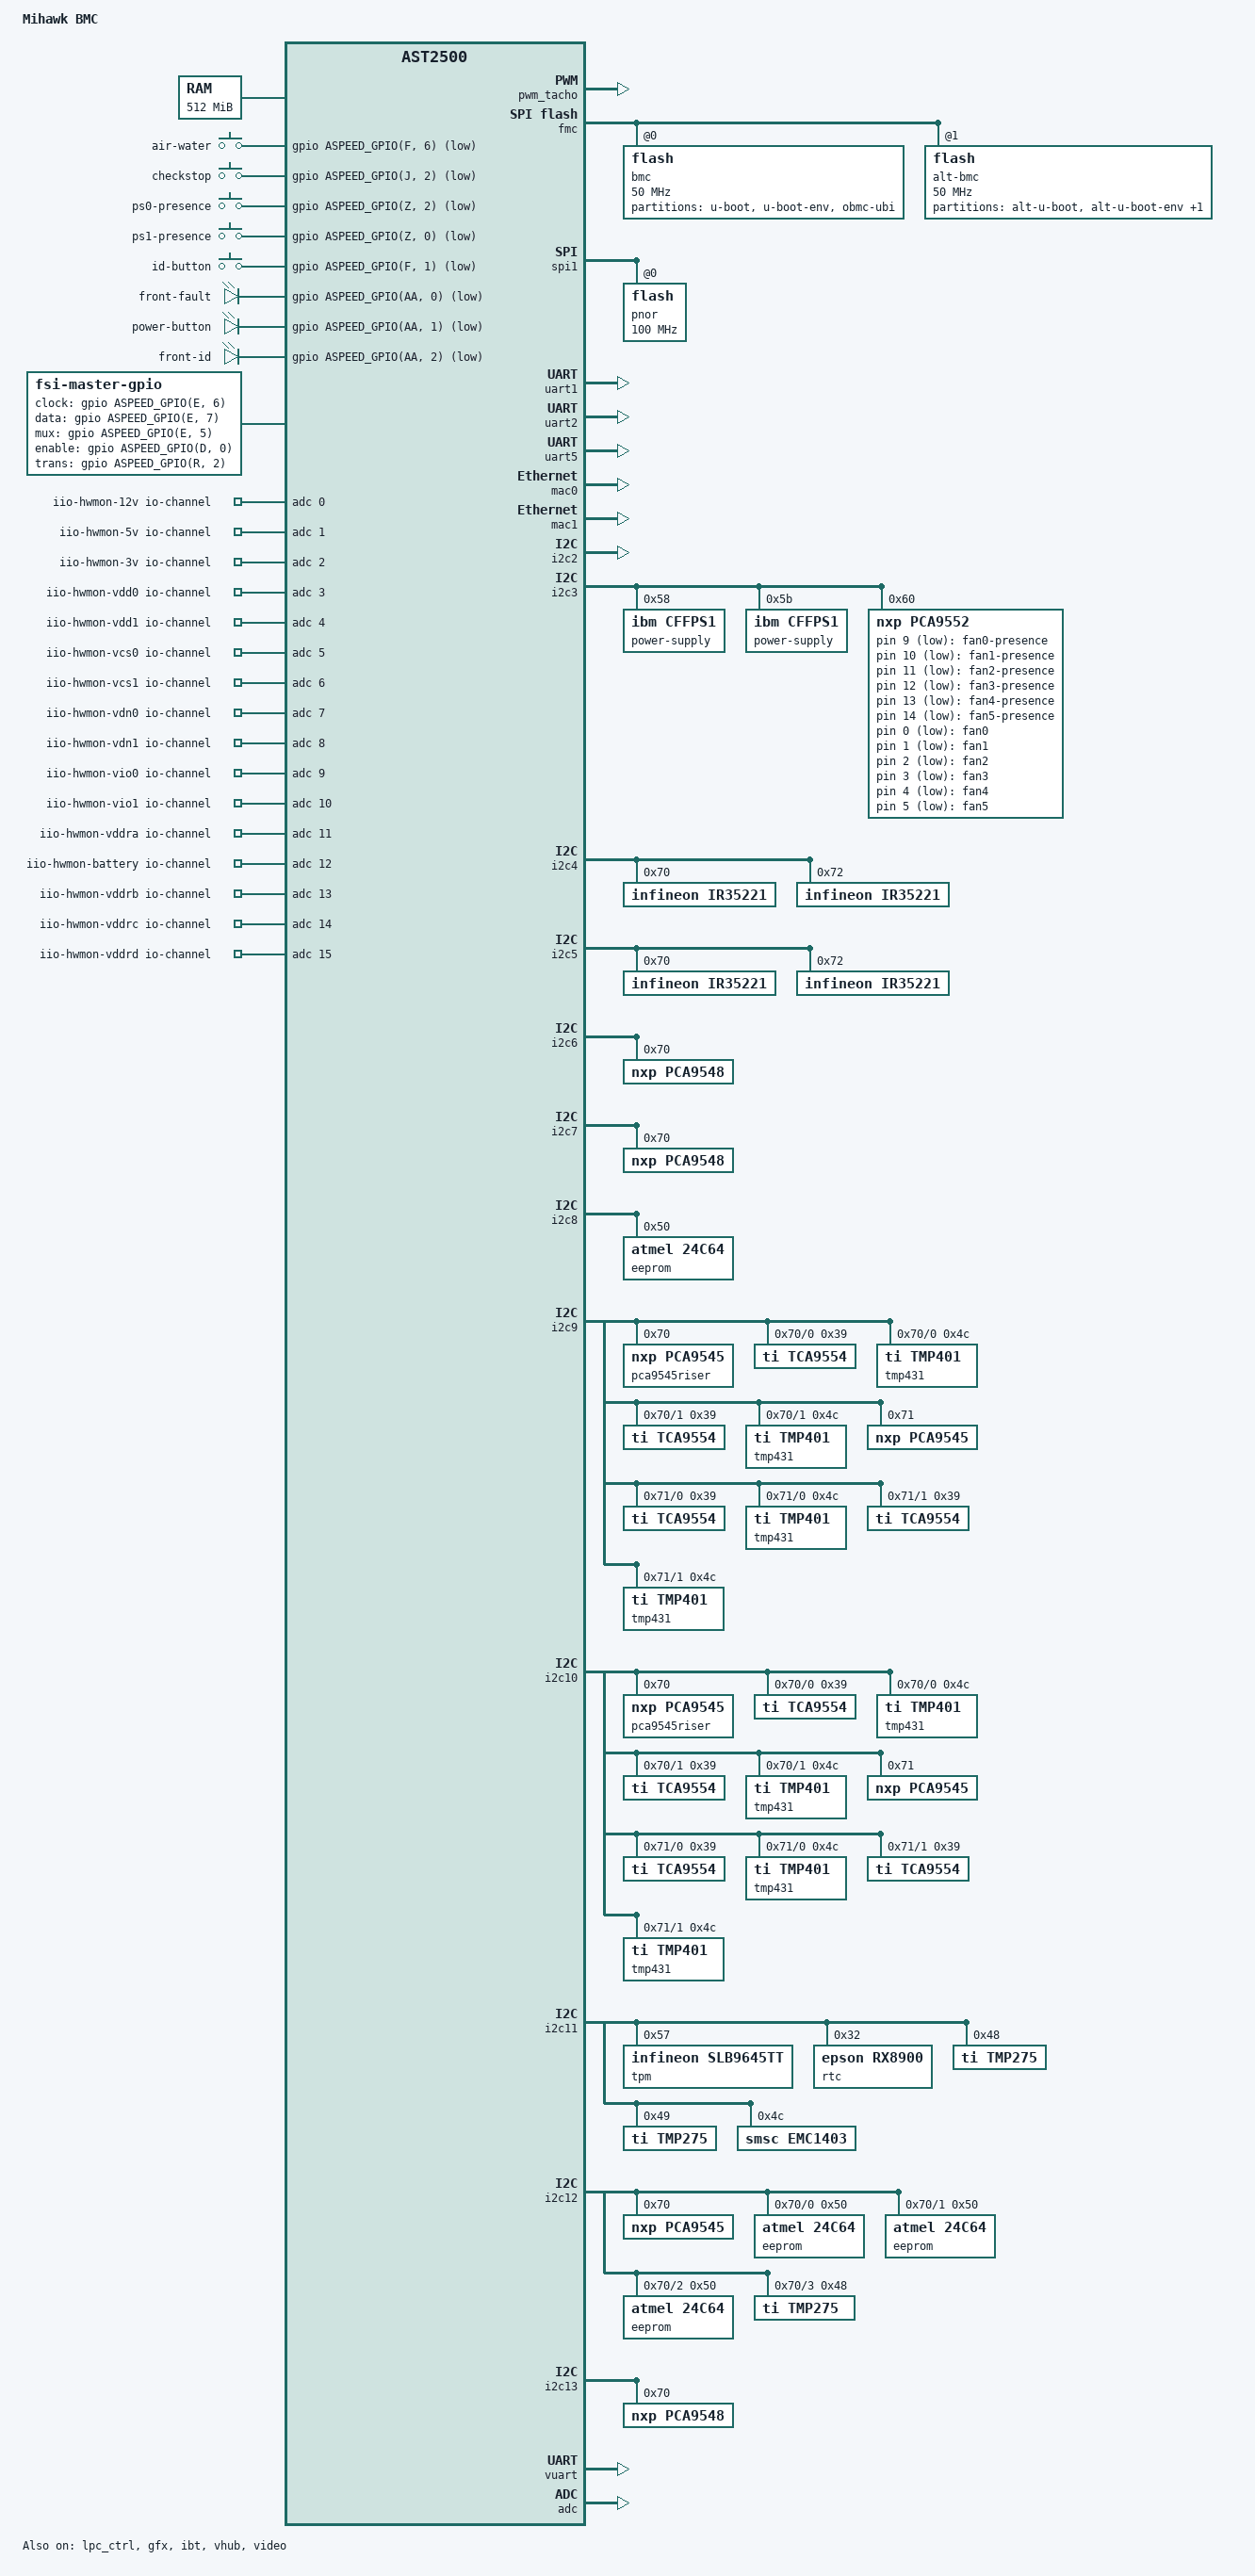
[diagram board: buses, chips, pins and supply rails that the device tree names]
// SPDX-License-Identifier: GPL-2.0+
/dts-v1/;
#include "aspeed-g5.dtsi"
#include <dt-bindings/gpio/aspeed-gpio.h>
#include <dt-bindings/leds/leds-pca955x.h>

/ {
	model = "Mihawk BMC";
	compatible = "ibm,mihawk-bmc", "aspeed,ast2500";

	aliases {
		i2c215 = &bus6_mux215;
		i2c216 = &bus6_mux216;
		i2c217 = &bus6_mux217;
		i2c218 = &bus6_mux218;
		i2c219 = &bus6_mux219;
		i2c220 = &bus6_mux220;
		i2c221 = &bus6_mux221;
		i2c222 = &bus6_mux222;
		i2c223 = &bus7_mux223;
		i2c224 = &bus7_mux224;
		i2c225 = &bus7_mux225;
		i2c226 = &bus7_mux226;
		i2c227 = &bus7_mux227;
		i2c228 = &bus7_mux228;
		i2c229 = &bus7_mux229;
		i2c230 = &bus7_mux230;
		i2c231 = &bus9_mux231;
		i2c232 = &bus9_mux232;
		i2c233 = &bus9_mux233;
		i2c234 = &bus9_mux234;
		i2c235 = &bus9_mux235;
		i2c236 = &bus9_mux236;
		i2c237 = &bus9_mux237;
		i2c238 = &bus9_mux238;
		i2c239 = &bus10_mux239;
		i2c240 = &bus10_mux240;
		i2c241 = &bus10_mux241;
		i2c242 = &bus10_mux242;
		i2c243 = &bus10_mux243;
		i2c244 = &bus10_mux244;
		i2c245 = &bus10_mux245;
		i2c246 = &bus10_mux246;
		i2c247 = &bus12_mux247;
		i2c248 = &bus12_mux248;
		i2c249 = &bus12_mux249;
		i2c250 = &bus12_mux250;
		i2c251 = &bus13_mux251;
		i2c252 = &bus13_mux252;
		i2c253 = &bus13_mux253;
		i2c254 = &bus13_mux254;
		i2c255 = &bus13_mux255;
		i2c256 = &bus13_mux256;
		i2c257 = &bus13_mux257;
		i2c258 = &bus13_mux258;
	};

	chosen {
		stdout-path = &uart5;
		bootargs = "console=ttyS4,115200 earlyprintk";
	};

	memory@80000000 {
		reg = <0x80000000 0x20000000>;
	};

	reserved-memory {
		#address-cells = <1>;
		#size-cells = <1>;
		ranges;

		flash_memory: region@98000000 {
			no-map;
			reg = <0x98000000 0x04000000>; /* 64M */
		};

		gfx_memory: framebuffer {
			size = <0x01000000>;
			alignment = <0x01000000>;
			compatible = "shared-dma-pool";
			reusable;
		};

		video_engine_memory: jpegbuffer {
			size = <0x02000000>;
			alignment = <0x01000000>;
			compatible = "shared-dma-pool";
			reusable;
		};
	};

	gpio-keys {
		compatible = "gpio-keys";

		air-water {
			label = "air-water";
			gpios = <&gpio ASPEED_GPIO(F, 6) GPIO_ACTIVE_LOW>;
			linux,code = <ASPEED_GPIO(F, 6)>;
		};

		checkstop {
			label = "checkstop";
			gpios = <&gpio ASPEED_GPIO(J, 2) GPIO_ACTIVE_LOW>;
			linux,code = <ASPEED_GPIO(J, 2)>;
		};

		ps0-presence {
			label = "ps0-presence";
			gpios = <&gpio ASPEED_GPIO(Z, 2) GPIO_ACTIVE_LOW>;
			linux,code = <ASPEED_GPIO(Z, 2)>;
		};

		ps1-presence {
			label = "ps1-presence";
			gpios = <&gpio ASPEED_GPIO(Z, 0) GPIO_ACTIVE_LOW>;
			linux,code = <ASPEED_GPIO(Z, 0)>;
		};
		id-button {
			label = "id-button";
			gpios = <&gpio ASPEED_GPIO(F, 1) GPIO_ACTIVE_LOW>;
			linux,code = <ASPEED_GPIO(F, 1)>;
		};
	};

	gpio-keys-polled {
		compatible = "gpio-keys-polled";
		poll-interval = <1000>;

		fan0-presence {
			label = "fan0-presence";
			gpios = <&pca9552 9 GPIO_ACTIVE_LOW>;
			linux,code = <9>;
		};

		fan1-presence {
			label = "fan1-presence";
			gpios = <&pca9552 10 GPIO_ACTIVE_LOW>;
			linux,code = <10>;
		};

		fan2-presence {
			label = "fan2-presence";
			gpios = <&pca9552 11 GPIO_ACTIVE_LOW>;
			linux,code = <11>;
		};

		fan3-presence {
			label = "fan3-presence";
			gpios = <&pca9552 12 GPIO_ACTIVE_LOW>;
			linux,code = <12>;
		};

		fan4-presence {
			label = "fan4-presence";
			gpios = <&pca9552 13 GPIO_ACTIVE_LOW>;
			linux,code = <13>;
		};

		fan5-presence {
			label = "fan5-presence";
			gpios = <&pca9552 14 GPIO_ACTIVE_LOW>;
			linux,code = <14>;
		};
	};

	leds {
		compatible = "gpio-leds";

		front-fault {
			retain-state-shutdown;
			default-state = "keep";
			gpios = <&gpio ASPEED_GPIO(AA, 0) GPIO_ACTIVE_LOW>;
		};

		power-button {
			retain-state-shutdown;
			default-state = "keep";
			gpios = <&gpio ASPEED_GPIO(AA, 1) GPIO_ACTIVE_LOW>;
		};

		front-id {
			retain-state-shutdown;
			default-state = "keep";
			gpios = <&gpio ASPEED_GPIO(AA, 2) GPIO_ACTIVE_LOW>;
		};


		fan0 {
			retain-state-shutdown;
			default-state = "keep";
			gpios = <&pca9552 0 GPIO_ACTIVE_LOW>;
		};

		fan1 {
			retain-state-shutdown;
			default-state = "keep";
			gpios = <&pca9552 1 GPIO_ACTIVE_LOW>;
		};

		fan2 {
			retain-state-shutdown;
			default-state = "keep";
			gpios = <&pca9552 2 GPIO_ACTIVE_LOW>;
		};

		fan3 {
			retain-state-shutdown;
			default-state = "keep";
			gpios = <&pca9552 3 GPIO_ACTIVE_LOW>;
		};

		fan4 {
			retain-state-shutdown;
			default-state = "keep";
			gpios = <&pca9552 4 GPIO_ACTIVE_LOW>;
		};

		fan5 {
			retain-state-shutdown;
			default-state = "keep";
			gpios = <&pca9552 5 GPIO_ACTIVE_LOW>;
		};
	};

	fsi: gpio-fsi {
		compatible = "fsi-master-gpio", "fsi-master";
		#address-cells = <2>;
		#size-cells = <0>;
		no-gpio-delays;

		clock-gpios = <&gpio ASPEED_GPIO(E, 6) GPIO_ACTIVE_HIGH>;
		data-gpios = <&gpio ASPEED_GPIO(E, 7) GPIO_ACTIVE_HIGH>;
		mux-gpios = <&gpio ASPEED_GPIO(E, 5) GPIO_ACTIVE_HIGH>;
		enable-gpios = <&gpio ASPEED_GPIO(D, 0) GPIO_ACTIVE_HIGH>;
		trans-gpios = <&gpio ASPEED_GPIO(R, 2) GPIO_ACTIVE_HIGH>;
	};
	iio-hwmon-12v {
		compatible = "iio-hwmon";
		io-channels = <&adc 0>;
	};

	iio-hwmon-5v {
		compatible = "iio-hwmon";
		io-channels = <&adc 1>;
	};

	iio-hwmon-3v {
		compatible = "iio-hwmon";
		io-channels = <&adc 2>;
	};

	iio-hwmon-vdd0 {
		compatible = "iio-hwmon";
		io-channels = <&adc 3>;
	};

	iio-hwmon-vdd1 {
		compatible = "iio-hwmon";
		io-channels = <&adc 4>;
	};

	iio-hwmon-vcs0 {
		compatible = "iio-hwmon";
		io-channels = <&adc 5>;
	};

	iio-hwmon-vcs1 {
		compatible = "iio-hwmon";
		io-channels = <&adc 6>;
	};

	iio-hwmon-vdn0 {
		compatible = "iio-hwmon";
		io-channels = <&adc 7>;
	};

	iio-hwmon-vdn1 {
		compatible = "iio-hwmon";
		io-channels = <&adc 8>;
	};

	iio-hwmon-vio0 {
		compatible = "iio-hwmon";
		io-channels = <&adc 9>;
	};

	iio-hwmon-vio1 {
		compatible = "iio-hwmon";
		io-channels = <&adc 10>;
	};

	iio-hwmon-vddra {
		compatible = "iio-hwmon";
		io-channels = <&adc 11>;
	};

	iio-hwmon-battery {
		compatible = "iio-hwmon";
		io-channels = <&adc 12>;
	};

	iio-hwmon-vddrb {
		compatible = "iio-hwmon";
		io-channels = <&adc 13>;
	};

	iio-hwmon-vddrc {
		compatible = "iio-hwmon";
		io-channels = <&adc 14>;
	};

	iio-hwmon-vddrd {
		compatible = "iio-hwmon";
		io-channels = <&adc 15>;
	};
};

&pwm_tacho {
	status = "okay";
	pinctrl-names = "default";
	pinctrl-0 = <&pinctrl_pwm0_default &pinctrl_pwm1_default
		&pinctrl_pwm2_default &pinctrl_pwm3_default
		&pinctrl_pwm4_default &pinctrl_pwm5_default>;

	fan@0 {
		reg = <0x00>;
		aspeed,fan-tach-ch = /bits/ 8 <0x00>;
	};

	fan@1 {
		reg = <0x01>;
		aspeed,fan-tach-ch = /bits/ 8 <0x01>;
	};

	fan@2 {
		reg = <0x02>;
		aspeed,fan-tach-ch = /bits/ 8 <0x02>;
	};

	fan@3 {
		reg = <0x03>;
		aspeed,fan-tach-ch = /bits/ 8 <0x03>;
	};

	fan@4 {
		reg = <0x04>;
		aspeed,fan-tach-ch = /bits/ 8 <0x04>;
	};

	fan@5 {
		reg = <0x05>;
		aspeed,fan-tach-ch = /bits/ 8 <0x05>;
	};

	fan@6 {
		reg = <0x00>;
		aspeed,fan-tach-ch = /bits/ 8 <0x06>;
	};

	fan@7 {
		reg = <0x01>;
		aspeed,fan-tach-ch = /bits/ 8 <0x07>;
	};

	fan@8 {
		reg = <0x02>;
		aspeed,fan-tach-ch = /bits/ 8 <0x08>;
	};

	fan@9 {
		reg = <0x03>;
		aspeed,fan-tach-ch = /bits/ 8 <0x09>;
	};

	fan@10 {
		reg = <0x04>;
		aspeed,fan-tach-ch = /bits/ 8 <0x0a>;
	};

	fan@11 {
		reg = <0x05>;
		aspeed,fan-tach-ch = /bits/ 8 <0x0b>;
	};
};

&fmc {
	status = "okay";
	flash@0 {
		status = "okay";
		label = "bmc";
		m25p,fast-read;
		spi-max-frequency = <50000000>;
		partitions {
			#address-cells = < 1 >;
			#size-cells = < 1 >;
			compatible = "fixed-partitions";
			u-boot@0 {
				reg = < 0 0x60000 >;
				label = "u-boot";
			};
			u-boot-env@60000 {
				reg = < 0x60000 0x20000 >;
				label = "u-boot-env";
			};
			obmc-ubi@80000 {
				reg = < 0x80000 0x1F80000 >;
				label = "obmc-ubi";
			};
		};
	};
	flash@1 {
		status = "okay";
		label = "alt-bmc";
		m25p,fast-read;
		spi-max-frequency = <50000000>;
		partitions {
			#address-cells = < 1 >;
			#size-cells = < 1 >;
			compatible = "fixed-partitions";
			u-boot@0 {
				reg = < 0 0x60000 >;
				label = "alt-u-boot";
			};
			u-boot-env@60000 {
				reg = < 0x60000 0x20000 >;
				label = "alt-u-boot-env";
			};
			obmc-ubi@80000 {
				reg = < 0x80000 0x1F80000 >;
				label = "alt-obmc-ubi";
			};
		};
	};
};

&spi1 {
	status = "okay";
	pinctrl-names = "default";
	pinctrl-0 = <&pinctrl_spi1_default>;

	flash@0 {
		status = "okay";
		label = "pnor";
		m25p,fast-read;
		spi-max-frequency = <100000000>;
	};
};

&lpc_ctrl {
	status = "okay";
	memory-region = <&flash_memory>;
	flash = <&spi1>;
};

&uart1 {
	/* Rear RS-232 connector */
	status = "okay";

	pinctrl-names = "default";
	pinctrl-0 = <&pinctrl_txd1_default
			&pinctrl_rxd1_default
			&pinctrl_nrts1_default
			&pinctrl_ndtr1_default
			&pinctrl_ndsr1_default
			&pinctrl_ncts1_default
			&pinctrl_ndcd1_default
			&pinctrl_nri1_default>;
};

&uart2 {
	/* APSS */
	status = "okay";

	pinctrl-names = "default";
	pinctrl-0 = <&pinctrl_txd2_default &pinctrl_rxd2_default>;
};

&uart5 {
	status = "okay";
};

&mac0 {
	status = "okay";

	pinctrl-names = "default";
	pinctrl-0 = <&pinctrl_rmii1_default>;
	clocks = <&syscon ASPEED_CLK_GATE_MAC1CLK>,
		 <&syscon ASPEED_CLK_MAC1RCLK>;
	clock-names = "MACCLK", "RCLK";
	use-ncsi;
};

&mac1 {
	status = "okay";

	pinctrl-names = "default";
	pinctrl-0 = <&pinctrl_rgmii2_default &pinctrl_mdio2_default>;
};

&i2c0 {
	status = "disabled";
};

&i2c1 {
	status = "disabled";
};

&i2c2 {
	status = "okay";

	/* SAMTEC P0 */
	/* SAMTEC P1 */

};

&i2c3 {
	status = "okay";

	/* APSS */
	/* CPLD */

	/* PCA9516 (repeater) ->
	 *    CLK Buffer 9FGS9092
	 *    CLK Buffer 9DBL0651BKILFT
	 *    CLK Buffer 9DBL0651BKILFT
	 *    Power Supply 0
	 *    Power Supply 1
	 *    PCA 9552 LED
	 */

	power-supply@58 {
		compatible = "ibm,cffps1";
		reg = <0x58>;
	};

	power-supply@5b {
		compatible = "ibm,cffps1";
		reg = <0x5b>;
	};

	pca9552: pca9552@60 {
		compatible = "nxp,pca9552";
		reg = <0x60>;
		#address-cells = <1>;
		#size-cells = <0>;
		gpio-controller;
		#gpio-cells = <2>;

		gpio@0 {
			reg = <0>;
			type = <PCA955X_TYPE_GPIO>;
		};
		gpio@1 {
			reg = <1>;
			type = <PCA955X_TYPE_GPIO>;
		};
		gpio@2 {
			reg = <2>;
			type = <PCA955X_TYPE_GPIO>;
		};
		gpio@3 {
			reg = <3>;
			type = <PCA955X_TYPE_GPIO>;
		};
		gpio@4 {
			reg = <4>;
			type = <PCA955X_TYPE_GPIO>;
		};
		gpio@5 {
			reg = <5>;
			type = <PCA955X_TYPE_GPIO>;
		};
		gpio@6 {
			reg = <6>;
			type = <PCA955X_TYPE_GPIO>;
		};
		gpio@7 {
			reg = <7>;
			type = <PCA955X_TYPE_GPIO>;
		};
		gpio@8 {
			reg = <8>;
			type = <PCA955X_TYPE_GPIO>;
		};
		gpio@9 {
			reg = <9>;
			type = <PCA955X_TYPE_GPIO>;
		};
		gpio@10 {
			reg = <10>;
			type = <PCA955X_TYPE_GPIO>;
		};
		gpio@11 {
			reg = <11>;
			type = <PCA955X_TYPE_GPIO>;
		};
		gpio@12 {
			reg = <12>;
			type = <PCA955X_TYPE_GPIO>;
		};
		gpio@13 {
			reg = <13>;
			type = <PCA955X_TYPE_GPIO>;
		};
		gpio@14 {
			reg = <14>;
			type = <PCA955X_TYPE_GPIO>;
		};
		gpio@15 {
			reg = <15>;
			type = <PCA955X_TYPE_GPIO>;
		};

	};

};

&i2c4 {
	status = "okay";

	/* CP0 VDD & VCS : IR35221 */
	/* CP0 VDN : IR35221 */
	/* CP0 VIO : IR38064 */
	/* CP0 VDDR : PXM1330 */

	ir35221@70 {
		compatible = "infineon,ir35221";
		reg = <0x70>;
	};

	ir35221@72 {
		compatible = "infineon,ir35221";
		reg = <0x72>;
	};

};

&i2c5 {
	status = "okay";

	/* CP0 VDD & VCS : IR35221 */
	/* CP0 VDN : IR35221 */
	/* CP0 VIO : IR38064 */
	/* CP0 VDDR : PXM1330 */

	ir35221@70 {
		compatible = "infineon,ir35221";
		reg = <0x70>;
	};

	ir35221@72 {
		compatible = "infineon,ir35221";
		reg = <0x72>;
	};

};

&i2c6 {
	status = "okay";

	/* pca9548 -> NVMe1 to 8 */

	pca9548@70 {
		compatible = "nxp,pca9548";
		#address-cells = <1>;
		#size-cells = <0>;
		reg = <0x70>;

		bus7_mux223: i2c@0 {
			#address-cells = <1>;
			#size-cells = <0>;
			reg = <0>;
		};

		bus7_mux224: i2c@1 {
			#address-cells = <1>;
			#size-cells = <0>;
			reg = <1>;
		};

		bus7_mux225: i2c@2 {
			#address-cells = <1>;
			#size-cells = <0>;
			reg = <2>;
		};

		bus7_mux226: i2c@3 {
			#address-cells = <1>;
			#size-cells = <0>;
			reg = <3>;
		};

		bus7_mux227: i2c@4 {
			#address-cells = <1>;
			#size-cells = <0>;
			reg = <4>;
		};

		bus7_mux228: i2c@5 {
			#address-cells = <1>;
			#size-cells = <0>;
			reg = <5>;
		};

		bus7_mux229: i2c@6 {
			#address-cells = <1>;
			#size-cells = <0>;
			reg = <6>;
		};

		bus7_mux230: i2c@7 {
			#address-cells = <1>;
			#size-cells = <0>;
			reg = <7>;
		};
	};

};

&i2c7 {
	status = "okay";

	/* pca9548 -> NVMe9 to 16 */

	pca9548@70 {
		compatible = "nxp,pca9548";
		#address-cells = <1>;
		#size-cells = <0>;
		reg = <0x70>;

		bus6_mux215: i2c@0 {
			#address-cells = <1>;
			#size-cells = <0>;
			reg = <0>;
		};

		bus6_mux216: i2c@1 {
			#address-cells = <1>;
			#size-cells = <0>;
			reg = <1>;
		};

		bus6_mux217: i2c@2 {
			#address-cells = <1>;
			#size-cells = <0>;
			reg = <2>;
		};

		bus6_mux218: i2c@3 {
			#address-cells = <1>;
			#size-cells = <0>;
			reg = <3>;
		};

		bus6_mux219: i2c@4 {
			#address-cells = <1>;
			#size-cells = <0>;
			reg = <4>;
		};

		bus6_mux220: i2c@5 {
			#address-cells = <1>;
			#size-cells = <0>;
			reg = <5>;
		};

		bus6_mux221: i2c@6 {
			#address-cells = <1>;
			#size-cells = <0>;
			reg = <6>;
		};

		bus6_mux222: i2c@7 {
			#address-cells = <1>;
			#size-cells = <0>;
			reg = <7>;
		};
	};

};

&i2c8 {
	status = "okay";

	eeprom@50 {
		compatible = "atmel,24c64";
		reg = <0x50>;
	};
};

&i2c9 {
	status = "okay";

	/* pca9545 Riser ->
	*	PCIe x8  Slot3
	*	PCIe x16 slot4
	*	PCIe x8  slot5
	*	I2C BMC RISER PCA9554
	*	BMC SCL/SDA PCA9554
	*	PCA9554
	*/

	/* pca9545 ->
	*	PCIe x16 Slot1
	*	PCIe x8  slot2
	*	PEX8748
	*/

	pca9545riser@70 {
		compatible = "nxp,pca9545";
		#address-cells = <1>;
		#size-cells = <0>;
		reg = <0x70>;

		i2c-mux-idle-disconnect;
		interrupt-controller;
		#interrupt-cells = <2>;

		bus9_mux231: i2c@0 {
			#address-cells = <1>;
			#size-cells = <0>;
			reg = <0>;

			tca9554@39 {
				compatible = "ti,tca9554";
				reg = <0x39>;
				gpio-controller;
				#gpio-cells = <2>;

				smbus0-hog {
					gpio-hog;
					gpios = <4 GPIO_ACTIVE_HIGH>;
					output-high;
					line-name = "smbus0";
				};
			};

			tmp431@4c {
				compatible = "ti,tmp401";
				reg = <0x4c>;
			};
		};

		bus9_mux232: i2c@1 {
			#address-cells = <1>;
			#size-cells = <0>;
			reg = <1>;

			tca9554@39 {
				compatible = "ti,tca9554";
				reg = <0x39>;
				gpio-controller;
				#gpio-cells = <2>;

				smbus1-hog {
					gpio-hog;
					gpios = <4 GPIO_ACTIVE_HIGH>;
					output-high;
					line-name = "smbus1";
				};
			};

			tmp431@4c {
				compatible = "ti,tmp401";
				reg = <0x4c>;
			};
		};

		bus9_mux233: i2c@2 {
			#address-cells = <1>;
			#size-cells = <0>;
			reg = <2>;
		};

		bus9_mux234: i2c@3 {
			#address-cells = <1>;
			#size-cells = <0>;
			reg = <3>;
		};
	};

	pca9545@71 {
		compatible = "nxp,pca9545";
		#address-cells = <1>;
		#size-cells = <0>;
		reg = <0x71>;

		i2c-mux-idle-disconnect;
		interrupt-controller;
		#interrupt-cells = <2>;

		bus9_mux235: i2c@0 {
			#address-cells = <1>;
			#size-cells = <0>;
			reg = <0>;

			tca9554@39 {
				compatible = "ti,tca9554";
				reg = <0x39>;
				gpio-controller;
				#gpio-cells = <2>;

				smbus2-hog {
					gpio-hog;
					gpios = <4 GPIO_ACTIVE_HIGH>;
					output-high;
					line-name = "smbus2";
				};
			};

			tmp431@4c {
				compatible = "ti,tmp401";
				reg = <0x4c>;
			};
		};

		bus9_mux236: i2c@1 {
			#address-cells = <1>;
			#size-cells = <0>;
			reg = <1>;

			tca9554@39 {
				compatible = "ti,tca9554";
				reg = <0x39>;
				gpio-controller;
				#gpio-cells = <2>;

				smbus3-hog {
					gpio-hog;
					gpios = <4 GPIO_ACTIVE_HIGH>;
					output-high;
					line-name = "smbus3";
				};
			};

			tmp431@4c {
				compatible = "ti,tmp401";
				reg = <0x4c>;
			};
		};

		bus9_mux237: i2c@2 {
			#address-cells = <1>;
			#size-cells = <0>;
			reg = <2>;
		};

		bus9_mux238: i2c@3 {
			#address-cells = <1>;
			#size-cells = <0>;
			reg = <3>;
		};
	};
};

&i2c10 {
	status = "okay";

	/* pca9545 Riser ->
	* 	PCIe x8  Slot8
	* 	PCIe x16 slot9
	* 	PCIe x8  slot10
	* 	I2C BMC RISER PCA9554
	* 	BMC SCL/SDA PCA9554
	* 	PCA9554
	*/

	/* pca9545 ->
	*	PCIe x16 Slot1
	*	PCIe x8  slot2
	*	PEX8748
	*/

	pca9545riser@70 {
		compatible = "nxp,pca9545";
		#address-cells = <1>;
		#size-cells = <0>;
		reg = <0x70>;

		i2c-mux-idle-disconnect;
		interrupt-controller;
		#interrupt-cells = <2>;

		bus10_mux239: i2c@0 {
			#address-cells = <1>;
			#size-cells = <0>;
			reg = <0>;

			tca9554@39 {
				compatible = "ti,tca9554";
				reg = <0x39>;
				gpio-controller;
				#gpio-cells = <2>;

				smbus4-hog {
					gpio-hog;
					gpios = <4 GPIO_ACTIVE_HIGH>;
					output-high;
					line-name = "smbus4";
				};
			};

			tmp431@4c {
				compatible = "ti,tmp401";
				reg = <0x4c>;
			};
		};

		bus10_mux240: i2c@1 {
			#address-cells = <1>;
			#size-cells = <0>;
			reg = <1>;

			tca9554@39 {
				compatible = "ti,tca9554";
				reg = <0x39>;
				gpio-controller;
				#gpio-cells = <2>;

				smbus5-hog {
					gpio-hog;
					gpios = <4 GPIO_ACTIVE_HIGH>;
					output-high;
					line-name = "smbus5";
				};
			};

			tmp431@4c {
				compatible = "ti,tmp401";
				reg = <0x4c>;
			};
		};

		bus10_mux241: i2c@2 {
			#address-cells = <1>;
			#size-cells = <0>;
			reg = <2>;
		};

		bus10_mux242: i2c@3 {
			#address-cells = <1>;
			#size-cells = <0>;
			reg = <3>;
		};
	};

	pca9545@71 {
		compatible = "nxp,pca9545";
		#address-cells = <1>;
		#size-cells = <0>;
		reg = <0x71>;

		i2c-mux-idle-disconnect;
		interrupt-controller;
		#interrupt-cells = <2>;

		bus10_mux243: i2c@0 {
			#address-cells = <1>;
			#size-cells = <0>;
			reg = <0>;

			tca9554@39 {
				compatible = "ti,tca9554";
				reg = <0x39>;
				gpio-controller;
				#gpio-cells = <2>;

				smbus6-hog {
					gpio-hog;
					gpios = <4 GPIO_ACTIVE_HIGH>;
					output-high;
					line-name = "smbus6";
				};
			};

			tmp431@4c {
				compatible = "ti,tmp401";
				reg = <0x4c>;
			};
		};

		bus10_mux244: i2c@1 {
			#address-cells = <1>;
			#size-cells = <0>;
			reg = <1>;

			tca9554@39 {
				compatible = "ti,tca9554";
				reg = <0x39>;
				gpio-controller;
				#gpio-cells = <2>;

				smbus7-hog {
					gpio-hog;
					gpios = <4 GPIO_ACTIVE_HIGH>;
					output-high;
					line-name = "smbus7";
				};
			};

			tmp431@4c {
				compatible = "ti,tmp401";
				reg = <0x4c>;
			};
		};

		bus10_mux245: i2c@2 {
			#address-cells = <1>;
			#size-cells = <0>;
			reg = <2>;
		};

		bus10_mux246: i2c@3 {
			#address-cells = <1>;
			#size-cells = <0>;
			reg = <3>;
		};
	};
};

&i2c11 {
	status = "okay";

	/* TPM */
	/* RTC RX8900CE */
	/* FPGA for power sequence */
	/* TMP275A */
	/* TMP275A */
	/* EMC1462 */

	tpm@57 {
		compatible = "infineon,slb9645tt";
		reg = <0x57>;
	};

	rtc@32 {
		compatible = "epson,rx8900";
		reg = <0x32>;
	};

	tmp275@48 {
		compatible = "ti,tmp275";
		reg = <0x48>;
	};

	tmp275@49 {
		compatible = "ti,tmp275";
		reg = <0x49>;
	};

	/* chip emc1462 use emc1403 driver */
	emc1403@4c {
		compatible = "smsc,emc1403";
		reg = <0x4c>;
	};

};

&i2c12 {
	status = "okay";

	/* pca9545 ->
	*	SAS BP1
	*	SAS BP2
	*	NVMe BP
	*	M.2 riser
	*/

	pca9545@70 {
		compatible = "nxp,pca9545";
		#address-cells = <1>;
		#size-cells = <0>;
		reg = <0x70>;

		interrupt-controller;
		#interrupt-cells = <2>;

		bus12_mux247: i2c@0 {
			#address-cells = <1>;
			#size-cells = <0>;
			reg = <0>;

			eeprom@50 {
				compatible = "atmel,24c64";
				reg = <0x50>;
			};
		};

		bus12_mux248: i2c@1 {
			#address-cells = <1>;
			#size-cells = <0>;
			reg = <1>;

			eeprom@50 {
				compatible = "atmel,24c64";
				reg = <0x50>;
			};
		};

		bus12_mux249: i2c@2 {
			#address-cells = <1>;
			#size-cells = <0>;
			reg = <2>;

			eeprom@50 {
				compatible = "atmel,24c64";
				reg = <0x50>;
			};
		};

		bus12_mux250: i2c@3 {
			#address-cells = <1>;
			#size-cells = <0>;
			reg = <3>;

			tmp275@48 {
				compatible = "ti,tmp275";
				reg = <0x48>;
			};
		};

	};

};

&i2c13 {
	status = "okay";

	/* pca9548 ->
	*	NVMe BP
	*	NVMe HDD17 to 24
	*/

	pca9548@70 {
		compatible = "nxp,pca9548";
		#address-cells = <1>;
		#size-cells = <0>;
		reg = <0x70>;
		bus13_mux251: i2c@0 {
			#address-cells = <1>;
			#size-cells = <0>;
			reg = <0>;
		};

		bus13_mux252: i2c@1 {
			#address-cells = <1>;
			#size-cells = <0>;
			reg = <1>;
		};

		bus13_mux253: i2c@2 {
			#address-cells = <1>;
			#size-cells = <0>;
			reg = <2>;
		};

		bus13_mux254: i2c@3 {
			#address-cells = <1>;
			#size-cells = <0>;
			reg = <3>;
		};

		bus13_mux255: i2c@4 {
			#address-cells = <1>;
			#size-cells = <0>;
			reg = <4>;
		};

		bus13_mux256: i2c@5 {
			#address-cells = <1>;
			#size-cells = <0>;
			reg = <5>;
		};

		bus13_mux257: i2c@6 {
			#address-cells = <1>;
			#size-cells = <0>;
			reg = <6>;
		};

		bus13_mux258: i2c@7 {
			#address-cells = <1>;
			#size-cells = <0>;
			reg = <7>;
		};
	};
};

&vuart {
	status = "okay";
};

&gfx {
	status = "okay";
	memory-region = <&gfx_memory>;
};

&adc {
	status = "okay";
	pinctrl-names = "default";
	pinctrl-0 = <&pinctrl_adc0_default
			&pinctrl_adc1_default
			&pinctrl_adc2_default
			&pinctrl_adc3_default
			&pinctrl_adc4_default
			&pinctrl_adc5_default
			&pinctrl_adc6_default
			&pinctrl_adc7_default
			&pinctrl_adc8_default
			&pinctrl_adc9_default
			&pinctrl_adc10_default
			&pinctrl_adc11_default
			&pinctrl_adc12_default
			&pinctrl_adc13_default
			&pinctrl_adc14_default
			&pinctrl_adc15_default>;
};

&wdt1 {
	aspeed,reset-type = "none";
	aspeed,external-signal;
	aspeed,ext-push-pull;
	aspeed,ext-active-high;

	pinctrl-names = "default";
	pinctrl-0 = <&pinctrl_wdtrst1_default>;
};

&wdt2 {
	aspeed,alt-boot;
};

&ibt {
	status = "okay";
};

&vhub {
	status = "okay";
};

&video {
	status = "okay";
	memory-region = <&video_engine_memory>;
};

#include "ibm-power9-dual.dtsi"

